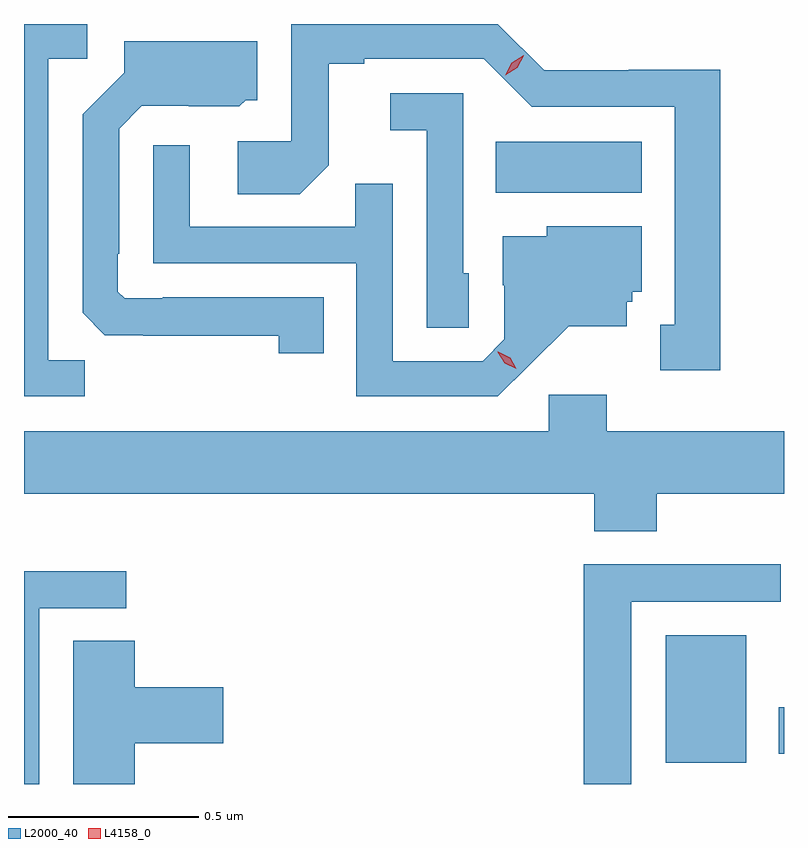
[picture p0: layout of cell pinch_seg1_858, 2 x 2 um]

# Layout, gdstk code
import gdstk
lib = gdstk.Library(unit=1e-6, precision=1e-09)
def R(c, l, rs):  # rectangles x0, y0, x1, y1
    for r in rs: c.add(gdstk.rectangle(r[:2], r[2:], *l))
def P(c, l, *ps):  # polygons
    for p in ps: c.add(gdstk.Polygon(p, *l))
L2000_40 = (2000, 40)
L4158_0 = (4158, 0)

pinch_seg1_858 = lib.new_cell('pinch_seg1_858')
R(pinch_seg1_858, L2000_40, [(484.58,567.008,484.792,567.343), (484.877,567.032,484.891,567.154), (484.132,568.508,484.516,568.642)])
P(pinch_seg1_858, L2000_40, [(484.723,568.832),(484.482,568.832),(484.482,568.83),(484.26,568.83),(484.138,568.952),(483.594,568.952),(483.594,568.644),(483.453,568.644),(483.453,568.504),(483.617,568.504),(483.693,568.58),(483.693,568.848),(483.787,568.848),(483.787,568.86),(484.101,568.86),(484.227,568.734),(484.604,568.734),(484.604,568.161),(484.565,568.161),(484.565,568.041),(484.723,568.041)],
  [(483.051,568.067),(482.955,568.067),(482.955,568.86),(483.058,568.86),(483.058,568.952),(482.891,568.952),(482.891,567.972),(483.051,567.972)],
  [(483.68,568.233),(483.256,568.233),(483.256,568.23),(483.156,568.23),(483.138,568.248),(483.138,568.348),(483.141,568.348),(483.141,568.677),(483.201,568.737),(483.324,568.737),(483.324,568.736),(483.458,568.736),(483.474,568.752),(483.505,568.752),(483.505,568.906),(483.155,568.906),(483.155,568.824),(483.045,568.714),(483.045,568.192),(483.104,568.133),(483.205,568.133),(483.205,568.132),(483.562,568.132),(483.562,568.086),(483.68,568.086)],
  [(484.062,568.296),(484.047,568.296),(484.047,568.77),(483.855,568.77),(483.855,568.673),(483.951,568.673),(483.951,568.153),(484.062,568.153)],
  [(484.222,568.055),(484.325,568.157),(484.477,568.157),(484.477,568.221),(484.491,568.221),(484.491,568.248),(484.516,568.248),(484.516,568.42),(484.266,568.42),(484.266,568.393),(484.151,568.393),(484.151,568.264),(484.155,568.264),(484.155,568.122),(484.098,568.065),(483.861,568.065),(483.861,568.532),(483.763,568.532),(483.763,568.419),(483.327,568.419),(483.327,568.633),(483.231,568.633),(483.231,568.323),(483.765,568.323),(483.765,567.972),(484.138,567.972)],
  [(484.556,567.716),(484.891,567.716),(484.891,567.88),(484.424,567.88),(484.424,567.976),(484.272,567.976),(484.272,567.88),(482.891,567.88),(482.891,567.716),(484.391,567.716),(484.391,567.617),(484.556,567.617)],
  [(484.489,567.432),(484.882,567.432),(484.882,567.53),(484.364,567.53),(484.364,566.952),(484.489,566.952)],
  [(482.931,567.414),(483.16,567.414),(483.16,567.512),(482.891,567.512),(482.891,566.952),(482.931,566.952)],
  [(483.182,567.059),(483.415,567.059),(483.415,567.206),(483.182,567.206),(483.182,567.329),(483.02,567.329),(483.02,566.952),(483.182,566.952)])
P(pinch_seg1_858, L4158_0, [(484.157,568.817),(484.157,568.817),(484.174,568.85),(484.206,568.87),(484.206,568.87),(484.206,568.869),(484.189,568.837),(484.158,568.817)],
  [(484.187,568.045),(484.156,568.059),(484.138,568.088),(484.138,568.089),(484.139,568.089),(484.17,568.074),(484.187,568.045),(484.187,568.045)])

lib.write_gds('pinch_seg1_858.gds')
